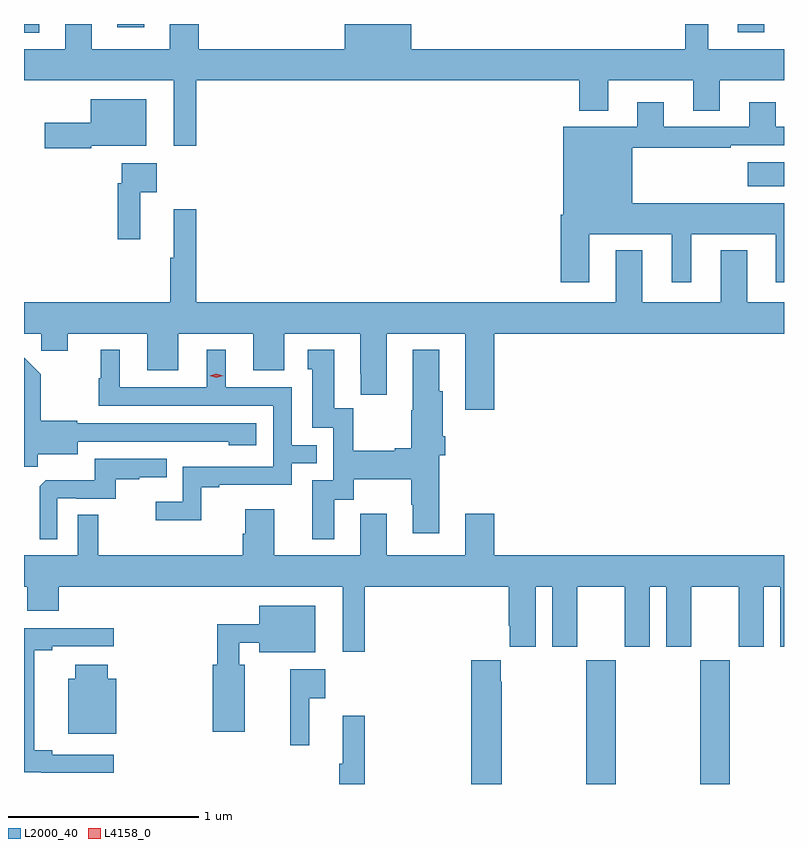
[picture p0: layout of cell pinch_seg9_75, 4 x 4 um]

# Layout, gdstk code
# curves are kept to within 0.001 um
import gdstk
lib = gdstk.Library(unit=1e-6, precision=1e-09)
def R(c, l, rs):  # rectangles x0, y0, x1, y1
    for r in rs: c.add(gdstk.rectangle(r[:2], r[2:], *l))
def P(c, l, *ps):  # polygons
    for p in ps: c.add(gdstk.Polygon(p, *l))
L2000_40 = (2000, 40)
L4158_0 = (4158, 0)

pinch_seg9_75 = lib.new_cell('pinch_seg9_75')
R(pinch_seg9_75, L2000_40, [(1119.901,1196.713,1120.056,1197.364), (1120.501,1196.713,1120.656,1197.364), (1120.749,1199.858,1120.941,1199.986), (1116.941,1200.666,1117.021,1200.713), (1120.697,1200.669,1120.837,1200.713), (1117.433,1200.696,1117.573,1200.713)])
P(pinch_seg9_75, L2000_40, [(1119.863,1200.257),(1120.015,1200.257),(1120.015,1200.416),(1120.463,1200.416),(1120.463,1200.256),(1120.603,1200.256),(1120.603,1200.416),(1120.941,1200.416),(1120.941,1200.58),(1120.543,1200.58),(1120.543,1200.713),(1120.422,1200.713),(1120.422,1200.58),(1118.98,1200.58),(1118.98,1200.713),(1118.63,1200.713),(1118.63,1200.58),(1117.862,1200.58),(1117.862,1200.713),(1117.709,1200.713),(1117.709,1200.58),(1117.297,1200.58),(1117.297,1200.713),(1117.157,1200.713),(1117.157,1200.58),(1116.941,1200.58),(1116.941,1200.416),(1117.73,1200.416),(1117.73,1200.072),(1117.847,1200.072),(1117.847,1200.416),(1119.863,1200.416)],
  [(1117.296,1200.071),(1117.585,1200.071),(1117.585,1200.316),(1117.292,1200.316),(1117.292,1200.193),(1117.05,1200.193),(1117.05,1200.059),(1117.296,1200.059)],
  [(1119.916,1199.606),(1120.349,1199.606),(1120.349,1199.355),(1120.453,1199.355),(1120.453,1199.606),(1120.898,1199.606),(1120.898,1199.355),(1120.941,1199.355),(1120.941,1199.77),(1120.141,1199.77),(1120.141,1200.063),(1120.661,1200.063),(1120.661,1200.075),(1120.941,1200.075),(1120.941,1200.171),(1120.897,1200.171),(1120.897,1200.301),(1120.757,1200.301),(1120.757,1200.171),(1120.309,1200.171),(1120.309,1200.301),(1120.169,1200.301),(1120.169,1200.172),(1119.779,1200.172),(1119.779,1199.71),(1119.767,1199.71),(1119.767,1199.355),(1119.916,1199.355)],
  [(1117.553,1199.828),(1117.639,1199.828),(1117.639,1199.98),(1117.455,1199.98),(1117.455,1199.876),(1117.435,1199.876),(1117.435,1199.58),(1117.553,1199.58)],
  [(1119.416,1199.084),(1120.941,1199.084),(1120.941,1199.248),(1120.747,1199.248),(1120.747,1199.521),(1120.607,1199.521),(1120.607,1199.248),(1120.195,1199.248),(1120.195,1199.521),(1120.055,1199.521),(1120.055,1199.248),(1117.847,1199.248),(1117.847,1199.737),(1117.73,1199.737),(1117.73,1199.484),(1117.711,1199.484),(1117.711,1199.248),(1116.941,1199.248),(1116.941,1199.084),(1117.033,1199.084),(1117.033,1198.994),(1117.171,1198.994),(1117.171,1199.084),(1117.589,1199.084),(1117.589,1198.89),(1117.753,1198.89),(1117.753,1199.084),(1118.147,1199.084),(1118.147,1198.89),(1118.311,1198.89),(1118.311,1199.084),(1118.711,1199.084),(1118.711,1198.873),(1118.714,1198.873),(1118.714,1198.761),(1118.851,1198.761),(1118.851,1199.084),(1119.263,1199.084),(1119.263,1198.683),(1119.416,1198.683)],
  [(1118.575,1198.21),(1118.677,1198.21),(1118.677,1198.316),(1118.98,1198.316),(1118.98,1198.182),(1118.987,1198.182),(1118.987,1198.032),(1119.127,1198.032),(1119.127,1198.443),(1119.158,1198.443),(1119.158,1198.543),(1119.145,1198.543),(1119.145,1198.779),(1119.127,1198.779),(1119.127,1198.999),(1118.987,1198.999),(1118.987,1198.679),(1118.98,1198.679),(1118.98,1198.481),(1118.891,1198.481),(1118.891,1198.468),(1118.673,1198.468),(1118.673,1198.691),(1118.575,1198.691),(1118.575,1198.999),(1118.435,1198.999),(1118.435,1198.896),(1118.459,1198.896),(1118.459,1198.587),(1118.568,1198.587),(1118.568,1198.311),(1118.459,1198.311),(1118.459,1198.002),(1118.575,1198.002)],
  [(1117.875,1198.275),(1117.969,1198.275),(1117.969,1198.287),(1118.349,1198.287),(1118.349,1198.401),(1118.483,1198.401),(1118.483,1198.497),(1118.349,1198.497),(1118.349,1198.8),(1118.002,1198.8),(1118.002,1198.999),(1117.904,1198.999),(1117.904,1198.8),(1117.444,1198.8),(1117.444,1198.999),(1117.346,1198.999),(1117.346,1198.848),(1117.335,1198.848),(1117.335,1198.704),(1118.253,1198.704),(1118.253,1198.383),(1117.776,1198.383),(1117.776,1198.198),(1117.635,1198.198),(1117.635,1198.1),(1117.875,1198.1)],
  [(1117.014,1198.448),(1117.225,1198.448),(1117.225,1198.515),(1118.019,1198.514),(1118.019,1198.496),(1118.164,1198.496),(1118.164,1198.611),(1117.221,1198.611),(1117.221,1198.624),(1117.029,1198.624),(1117.029,1198.869),(1116.941,1198.957),(1116.941,1198.384),(1117.014,1198.384)],
  [(1117.116,1198.218),(1117.216,1198.218),(1117.216,1198.215),(1117.424,1198.215),(1117.424,1198.317),(1117.547,1198.317),(1117.547,1198.328),(1117.691,1198.328),(1117.691,1198.425),(1117.314,1198.425),(1117.314,1198.313),(1117.055,1198.313),(1117.023,1198.281),(1117.023,1198.001),(1117.116,1198.001)],
  [(1119.416,1198.135),(1119.263,1198.135),(1119.263,1197.916),(1118.851,1197.916),(1118.851,1198.135),(1118.711,1198.135),(1118.711,1197.916),(1118.257,1197.916),(1118.257,1198.159),(1118.105,1198.159),(1118.105,1198.029),(1118.093,1198.029),(1118.093,1197.916),(1117.333,1197.916),(1117.333,1198.13),(1117.224,1198.13),(1117.224,1197.916),(1116.941,1197.916),(1116.941,1197.752),(1116.959,1197.752),(1116.959,1197.624),(1117.123,1197.624),(1117.123,1197.752),(1118.618,1197.752),(1118.618,1197.408),(1118.735,1197.408),(1118.735,1197.752),(1119.491,1197.752),(1119.491,1197.547),(1119.497,1197.547),(1119.497,1197.435),(1119.634,1197.435),(1119.634,1197.752),(1119.722,1197.752),(1119.722,1197.435),(1119.853,1197.435),(1119.853,1197.752),(1120.103,1197.752),(1120.103,1197.435),(1120.234,1197.435),(1120.234,1197.752),(1120.322,1197.752),(1120.322,1197.435),(1120.453,1197.435),(1120.453,1197.752),(1120.703,1197.752),(1120.703,1197.435),(1120.834,1197.435),(1120.834,1197.752),(1120.922,1197.752),(1120.922,1197.435),(1120.941,1197.435),(1120.941,1197.916),(1119.416,1197.916)],
  [(1118.104,1197.34),(1118.073,1197.34),(1118.073,1197.456),(1118.18,1197.456),(1118.18,1197.407),(1118.473,1197.407),(1118.473,1197.652),(1118.18,1197.652),(1118.18,1197.554),(1117.957,1197.554),(1117.957,1197.34),(1117.934,1197.34),(1117.934,1196.988),(1118.104,1196.988)],
  [(1117.414,1196.868),(1117.09,1196.868),(1117.09,1196.891),(1116.995,1196.891),(1116.995,1197.418),(1117.09,1197.418),(1117.09,1197.438),(1117.414,1197.438),(1117.414,1197.534),(1116.941,1197.534),(1116.941,1196.775),(1117.033,1196.775),(1117.033,1196.771),(1117.414,1196.771)],
  [(1119.456,1197.251),(1119.451,1197.251),(1119.451,1197.364),(1119.296,1197.364),(1119.296,1196.713),(1119.456,1196.713)],
  [(1117.426,1197.268),(1117.382,1197.268),(1117.382,1197.34),(1117.211,1197.34),(1117.211,1197.268),(1117.175,1197.268),(1117.175,1196.978),(1117.426,1196.978)],
  [(1118.441,1197.164),(1118.527,1197.164),(1118.527,1197.316),(1118.341,1197.316),(1118.341,1196.916),(1118.441,1196.916)],
  [(1118.735,1197.073),(1118.618,1197.073),(1118.618,1196.82),(1118.599,1196.82),(1118.599,1196.713),(1118.735,1196.713)])
P(pinch_seg9_75, L4158_0, [(1117.953,1198.851),(1117.918,1198.861),(1117.917,1198.861),(1117.918,1198.862),(1117.953,1198.871),(1117.989,1198.862),(1117.989,1198.861),(1117.989,1198.861)])

lib.write_gds('pinch_seg9_75.gds')
